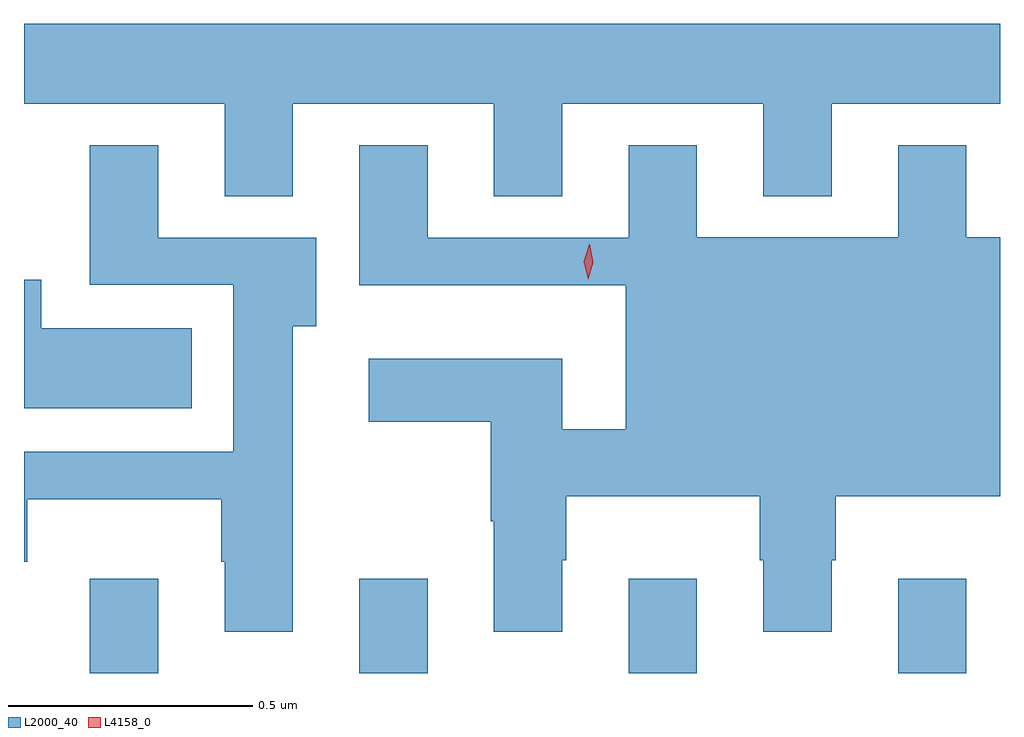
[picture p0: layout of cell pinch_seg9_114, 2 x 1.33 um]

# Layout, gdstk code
import gdstk
lib = gdstk.Library(unit=1e-6, precision=1e-09)
def R(c, l, rs):  # rectangles x0, y0, x1, y1
    for r in rs: c.add(gdstk.rectangle(r[:2], r[2:], *l))
def A(c, l, x, y, w, h, nx, ny, dx, dy):  # array of equal rectangles
    R(c, l, [(x+i*dx, y+j*dy, x+i*dx+w, y+j*dy+h) for i in range(nx) for j in range(ny)])
def P(c, l, *ps):  # polygons
    for p in ps: c.add(gdstk.Polygon(p, *l))
L2000_40 = (2000, 40)
L4158_0 = (4158, 0)

pinch_seg9_114 = lib.new_cell('pinch_seg9_114')
A(pinch_seg9_114, L2000_40, 1128.689, 1185.929, 0.14, 0.194, 4, 1, 0.552, 0)
P(pinch_seg9_114, L2000_40, [(1129.657,1187.096),(1130.069,1187.096),(1130.069,1186.907),(1130.209,1186.907),(1130.209,1187.096),(1130.554,1187.096),(1130.554,1187.26),(1128.554,1187.26),(1128.554,1187.096),(1128.965,1187.096),(1128.965,1186.907),(1129.105,1186.907),(1129.105,1187.096),(1129.517,1187.096),(1129.517,1186.906),(1129.657,1186.906)],
  [(1129.105,1186.64),(1129.153,1186.64),(1129.153,1186.821),(1128.829,1186.821),(1128.829,1187.011),(1128.689,1187.011),(1128.689,1186.725),(1128.983,1186.725),(1128.983,1186.383),(1128.554,1186.383),(1128.554,1186.158),(1128.561,1186.158),(1128.561,1186.286),(1128.958,1186.286),(1128.958,1186.158),(1128.965,1186.158),(1128.965,1186.014),(1129.105,1186.014)],
  [(1129.657,1186.161),(1129.665,1186.161),(1129.665,1186.292),(1130.062,1186.292),(1130.062,1186.161),(1130.069,1186.161),(1130.069,1186.014),(1130.209,1186.014),(1130.209,1186.161),(1130.217,1186.161),(1130.217,1186.292),(1130.554,1186.292),(1130.554,1186.822),(1130.485,1186.822),(1130.485,1187.011),(1130.345,1187.011),(1130.345,1186.822),(1129.933,1186.822),(1129.933,1187.011),(1129.793,1187.011),(1129.793,1186.821),(1129.381,1186.821),(1129.381,1187.011),(1129.241,1187.011),(1129.241,1186.724),(1129.787,1186.724),(1129.787,1186.429),(1129.657,1186.429),(1129.657,1186.573),(1129.26,1186.573),(1129.26,1186.444),(1129.51,1186.444),(1129.51,1186.241),(1129.517,1186.241),(1129.517,1186.014),(1129.657,1186.014)],
  [(1128.898,1186.636),(1128.589,1186.636),(1128.589,1186.735),(1128.554,1186.735),(1128.554,1186.472),(1128.898,1186.472)])
P(pinch_seg9_114, L4158_0, [(1129.71,1186.736),(1129.71,1186.736),(1129.701,1186.772),(1129.712,1186.808),(1129.712,1186.808),(1129.713,1186.808),(1129.721,1186.771),(1129.71,1186.736)])

lib.write_gds('pinch_seg9_114.gds')
